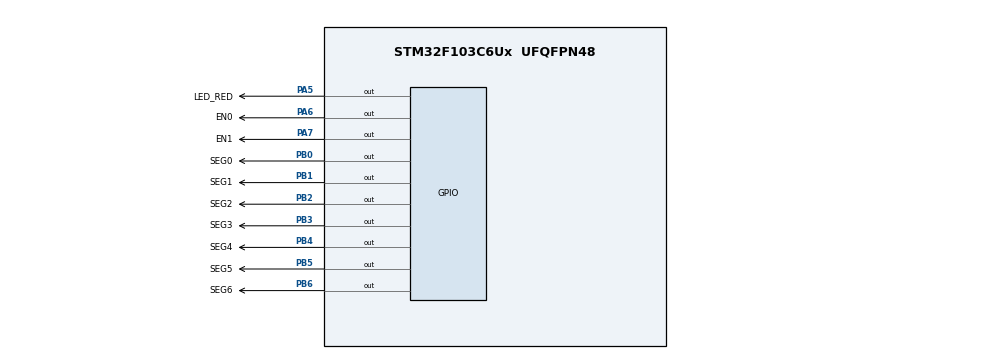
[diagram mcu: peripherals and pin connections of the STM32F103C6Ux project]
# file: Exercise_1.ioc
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Mcu.Family=STM32F1
Mcu.Name=STM32F103C6Ux
Mcu.Package=UFQFPN48
NVIC.PriorityGroup=NVIC_PRIORITYGROUP_4
NVIC.TIM2_IRQn=true\:0\:0\:false\:false\:true\:true\:true
PA5.GPIO_Label=LED_RED
PA5.Signal=GPIO_Output
PA6.GPIO_Label=EN0
PA6.Signal=GPIO_Output
PA7.GPIO_Label=EN1
PA7.Signal=GPIO_Output
PB0.GPIO_Label=SEG0
PB0.Signal=GPIO_Output
PB1.GPIO_Label=SEG1
PB1.Signal=GPIO_Output
PB2.GPIO_Label=SEG2
PB2.Signal=GPIO_Output
PB3.GPIO_Label=SEG3
PB3.Signal=GPIO_Output
PB4.GPIO_Label=SEG4
PB4.Signal=GPIO_Output
PB5.GPIO_Label=SEG5
PB5.Signal=GPIO_Output
PB6.GPIO_Label=SEG6
PB6.Signal=GPIO_Output
ProjectManager.HeapSize=0x200
ProjectManager.StackSize=0x400
ProjectManager.TargetToolchain=STM32CubeIDE
RCC.APB1Freq_Value=8000000
RCC.APB2Freq_Value=8000000
TIM2.Period=9
TIM2.Prescaler=7999
VP_SYS_VS_ND.Mode=No_Debug
VP_TIM2_VS_ClockSourceINT.Mode=Internal
board=custom

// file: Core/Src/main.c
/* USER CODE BEGIN Header */
/**
  ******************************************************************************
  * @file           : main.c
  * @brief          : Main program body
  ******************************************************************************
  * @attention
  *
  * <h2><center>&copy; Copyright (c) 2023 STMicroelectronics.
  * All rights reserved.</center></h2>
  *
  * This software component is licensed by ST under BSD 3-Clause license,
  * the "License"; You may not use this file except in compliance with the
  * License. You may obtain a copy of the License at:
  *                        opensource.org/licenses/BSD-3-Clause
  *
  ******************************************************************************
  */
/* USER CODE END Header */
#include "main.h"

TIM_HandleTypeDef htim2;

void SystemClock_Config(void);
static void MX_GPIO_Init(void);
static void MX_TIM2_Init(void);

int main(void)
{

  /* MCU Configuration--------------------------------------------------------*/

  /* Reset of all peripherals, Initializes the Flash interface and the Systick. */
  HAL_Init();

  /* Configure the system clock */
  SystemClock_Config();

  /* Initialize all configured peripherals */
  MX_GPIO_Init();
  MX_TIM2_Init();
  /* USER CODE BEGIN 2 */
  HAL_TIM_Base_Start_IT(&htim2 );
  /* USER CODE END 2 */
  /* Infinite loop */
  while (1)
  {

  }
}

void SystemClock_Config(void)
{
  RCC_OscInitTypeDef RCC_OscInitStruct = {0};
  RCC_ClkInitTypeDef RCC_ClkInitStruct = {0};

  /** Initializes the RCC Oscillators according to the specified parameters
  * in the RCC_OscInitTypeDef structure.
  */
  RCC_OscInitStruct.OscillatorType = RCC_OSCILLATORTYPE_HSI;
  RCC_OscInitStruct.HSIState = RCC_HSI_ON;
  RCC_OscInitStruct.HSICalibrationValue = RCC_HSICALIBRATION_DEFAULT;
  RCC_OscInitStruct.PLL.PLLState = RCC_PLL_NONE;
  if (HAL_RCC_OscConfig(&RCC_OscInitStruct) != HAL_OK)
  {
    Error_Handler();
  }
  /** Initializes the CPU, AHB and APB buses clocks
  */
  RCC_ClkInitStruct.ClockType = RCC_CLOCKTYPE_HCLK|RCC_CLOCKTYPE_SYSCLK
                              |RCC_CLOCKTYPE_PCLK1|RCC_CLOCKTYPE_PCLK2;
  RCC_ClkInitStruct.SYSCLKSource = RCC_SYSCLKSOURCE_HSI;
  RCC_ClkInitStruct.AHBCLKDivider = RCC_SYSCLK_DIV1;
  RCC_ClkInitStruct.APB1CLKDivider = RCC_HCLK_DIV1;
  RCC_ClkInitStruct.APB2CLKDivider = RCC_HCLK_DIV1;

  if (HAL_RCC_ClockConfig(&RCC_ClkInitStruct, FLASH_LATENCY_0) != HAL_OK)
  {
    Error_Handler();
  }
}

static void MX_TIM2_Init(void)
{

  TIM_ClockConfigTypeDef sClockSourceConfig = {0};
  TIM_MasterConfigTypeDef sMasterConfig = {0};

  htim2.Instance = TIM2;
  htim2.Init.Prescaler = 7999;
  htim2.Init.CounterMode = TIM_COUNTERMODE_UP;
  htim2.Init.Period = 9;
  htim2.Init.ClockDivision = TIM_CLOCKDIVISION_DIV1;
  htim2.Init.AutoReloadPreload = TIM_AUTORELOAD_PRELOAD_DISABLE;
  if (HAL_TIM_Base_Init(&htim2) != HAL_OK)
  {
    Error_Handler();
  }
  sClockSourceConfig.ClockSource = TIM_CLOCKSOURCE_INTERNAL;
  if (HAL_TIM_ConfigClockSource(&htim2, &sClockSourceConfig) != HAL_OK)
  {
    Error_Handler();
  }
  sMasterConfig.MasterOutputTrigger = TIM_TRGO_RESET;
  sMasterConfig.MasterSlaveMode = TIM_MASTERSLAVEMODE_DISABLE;
  if (HAL_TIMEx_MasterConfigSynchronization(&htim2, &sMasterConfig) != HAL_OK)
  {
    Error_Handler();
  }

}

static void MX_GPIO_Init(void)
{
  GPIO_InitTypeDef GPIO_InitStruct = {0};

  /* GPIO Ports Clock Enable */
  __HAL_RCC_GPIOA_CLK_ENABLE();
  __HAL_RCC_GPIOB_CLK_ENABLE();

  /*Configure GPIO pin Output Level */
  HAL_GPIO_WritePin(GPIOA, LED_RED_Pin|EN0_Pin|EN1_Pin, GPIO_PIN_RESET);

  /*Configure GPIO pin Output Level */
  HAL_GPIO_WritePin(GPIOB, SEG0_Pin|SEG1_Pin|SEG2_Pin|SEG3_Pin
                          |SEG4_Pin|SEG5_Pin|SEG6_Pin, GPIO_PIN_RESET);

  /*Configure GPIO pins : LED_RED_Pin EN0_Pin EN1_Pin */
  GPIO_InitStruct.Pin = LED_RED_Pin|EN0_Pin|EN1_Pin;
  GPIO_InitStruct.Mode = GPIO_MODE_OUTPUT_PP;
  GPIO_InitStruct.Pull = GPIO_NOPULL;
  GPIO_InitStruct.Speed = GPIO_SPEED_FREQ_LOW;
  HAL_GPIO_Init(GPIOA, &GPIO_InitStruct);

  /*Configure GPIO pins : SEG0_Pin SEG1_Pin SEG2_Pin SEG3_Pin
                           SEG4_Pin SEG5_Pin SEG6_Pin */
  GPIO_InitStruct.Pin = SEG0_Pin|SEG1_Pin|SEG2_Pin|SEG3_Pin
                          |SEG4_Pin|SEG5_Pin|SEG6_Pin;
  GPIO_InitStruct.Mode = GPIO_MODE_OUTPUT_PP;
  GPIO_InitStruct.Pull = GPIO_NOPULL;
  GPIO_InitStruct.Speed = GPIO_SPEED_FREQ_LOW;
  HAL_GPIO_Init(GPIOB, &GPIO_InitStruct);

}

void display7SEG(int counter) {
  	unsigned char disp_arr[10] = {0x40, 0x79, 0x24, 0x30, 0x19, 0x12, 0x02, 0x78, 0x00, 0x10};
  	unsigned char bit_var, varr = disp_arr[counter];

  	bit_var = varr & 0x01; /* Den P1 */
  	HAL_GPIO_WritePin(GPIOB, GPIO_PIN_0, bit_var);

  	bit_var = (varr>>1) & 0x01; /* Den P2 */
  	HAL_GPIO_WritePin(GPIOB, GPIO_PIN_1, bit_var);

  	bit_var = (varr>>2) & 0x01; /* Den P3 */
  	HAL_GPIO_WritePin(GPIOB, GPIO_PIN_2, bit_var);

  	bit_var = (varr>>3) & 0x01; /* Den P4 */
  	HAL_GPIO_WritePin(GPIOB, GPIO_PIN_3, bit_var);

  	bit_var = (varr>>4) & 0x01; /* Den P5 */
  	HAL_GPIO_WritePin(GPIOB, GPIO_PIN_4, bit_var);

  	bit_var = (varr>>5) & 0x01; /* Den P6 */
  	HAL_GPIO_WritePin(GPIOB, GPIO_PIN_5, bit_var);

  	bit_var = (varr>>6) & 0x01; /* Den P7 */
  	HAL_GPIO_WritePin(GPIOB, GPIO_PIN_6, bit_var);
  }

/* USER CODE BEGIN 4 */
int counter = 100;
void HAL_TIM_PeriodElapsedCallback(TIM_HandleTypeDef * htim)
{
	if(counter == 100){
		HAL_GPIO_WritePin(GPIOA, GPIO_PIN_6, 0);
		HAL_GPIO_WritePin(GPIOA, GPIO_PIN_7, 1);
		display7SEG(1);
	}
	else if (counter == 50){
		HAL_GPIO_WritePin(GPIOA, GPIO_PIN_6, 1);
		HAL_GPIO_WritePin(GPIOA, GPIO_PIN_7, 0);
		display7SEG(2);
	}
	counter--;
	if(counter <= 0){
		counter = 100;
		HAL_GPIO_TogglePin ( LED_RED_GPIO_Port , LED_RED_Pin );
	}
}
/* USER CODE END 4 */

void Error_Handler(void)
{
  __disable_irq();
  while (1)
  {
  }
}

/************************ (C) COPYRIGHT STMicroelectronics *****END OF FILE****/
